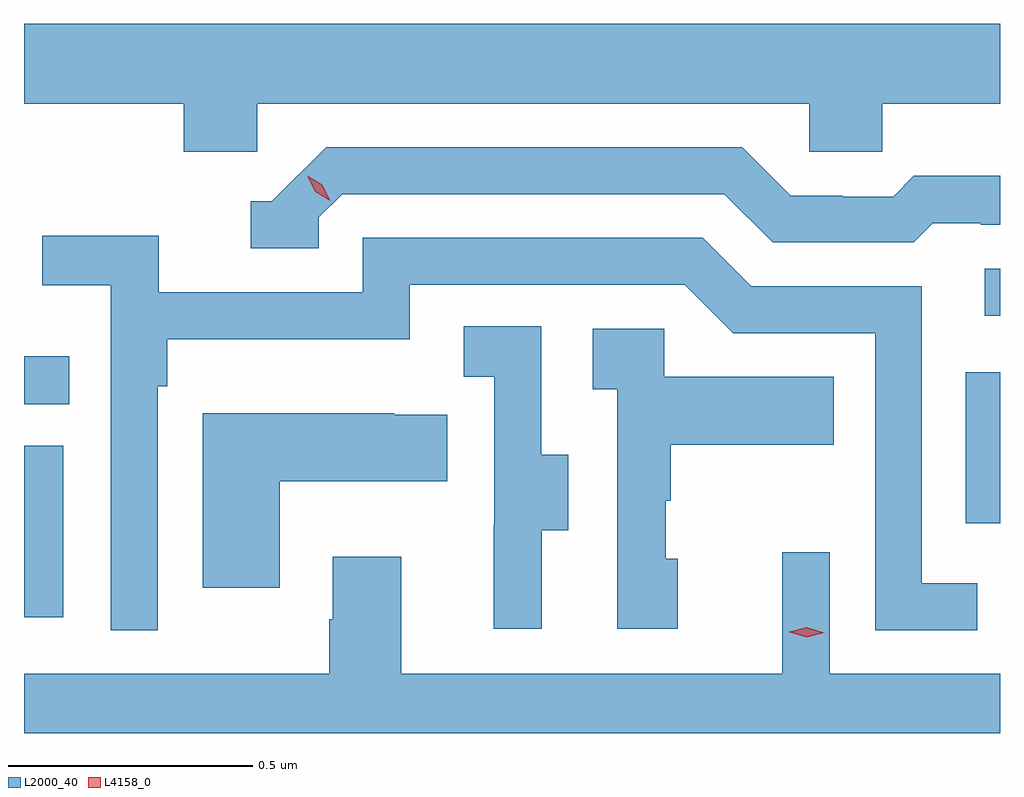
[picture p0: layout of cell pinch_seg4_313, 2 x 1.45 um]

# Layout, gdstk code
import gdstk
lib = gdstk.Library(unit=1e-6, precision=1e-09)
def R(c, l, rs):  # rectangles x0, y0, x1, y1
    for r in rs: c.add(gdstk.rectangle(r[:2], r[2:], *l))
def P(c, l, *ps):  # polygons
    for p in ps: c.add(gdstk.Polygon(p, *l))
L2000_40 = (2000, 40)
L4158_0 = (4158, 0)

pinch_seg4_313 = lib.new_cell('pinch_seg4_313')
R(pinch_seg4_313, L2000_40, [(926.66,790.44,926.74,790.791), (928.59,790.632,928.66,790.942), (926.66,790.876,926.753,790.975), (928.629,791.058,928.66,791.154)])
P(pinch_seg4_313, L2000_40, [(927.138,791.492),(928.269,791.492),(928.269,791.394),(928.419,791.394),(928.419,791.492),(928.66,791.492),(928.66,791.656),(926.66,791.656),(926.66,791.492),(926.987,791.492),(926.987,791.394),(927.138,791.394)],
  [(927.264,791.259),(927.312,791.307),(928.095,791.307),(928.194,791.208),(928.483,791.208),(928.522,791.247),(928.621,791.247),(928.621,791.244),(928.66,791.244),(928.66,791.344),(928.483,791.344),(928.441,791.301),(928.338,791.301),(928.338,791.304),(928.231,791.304),(928.132,791.403),(927.279,791.403),(927.168,791.292),(927.125,791.292),(927.125,791.196),(927.264,791.196)],
  [(926.934,790.913),(926.954,790.913),(926.954,791.009),(927.45,791.009),(927.45,791.121),(928.014,791.121),(928.113,791.022),(928.404,791.022),(928.404,790.413),(928.613,790.413),(928.613,790.509),(928.5,790.509),(928.5,791.118),(928.15,791.118),(928.051,791.217),(927.354,791.217),(927.354,791.106),(926.936,791.106),(926.936,791.222),(926.697,791.222),(926.697,791.12),(926.838,791.12),(926.838,790.413),(926.934,790.413)],
  [(927.721,790.618),(927.775,790.618),(927.775,790.773),(927.72,790.773),(927.72,791.036),(927.561,791.036),(927.561,790.933),(927.624,790.933),(927.624,790.629),(927.623,790.629),(927.623,790.416),(927.721,790.416)],
  [(928,790.56),(927.975,790.56),(927.975,790.679),(927.985,790.679),(927.985,790.793),(928.319,790.793),(928.319,790.933),(927.972,790.933),(927.972,791.031),(927.825,791.031),(927.825,790.907),(927.876,790.907),(927.876,790.416),(928,790.416)],
  [(927.184,790.718),(927.527,790.718),(927.527,790.855),(927.419,790.855),(927.419,790.858),(927.026,790.858),(927.026,790.5),(927.184,790.5)],
  [(928.66,790.324),(928.311,790.324),(928.311,790.573),(928.214,790.573),(928.214,790.324),(927.433,790.324),(927.433,790.564),(927.293,790.564),(927.293,790.436),(927.286,790.436),(927.286,790.324),(926.66,790.324),(926.66,790.202),(928.66,790.202)])
P(pinch_seg4_313, L4158_0, [(927.288,791.293),(927.257,791.312),(927.24,791.344),(927.24,791.344),(927.24,791.344),(927.271,791.326),(927.288,791.293),(927.288,791.293)],
  [(928.264,790.399),(928.228,790.409),(928.228,790.41),(928.228,790.41),(928.264,790.419),(928.3,790.408),(928.3,790.408),(928.3,790.408)])

lib.write_gds('pinch_seg4_313.gds')
